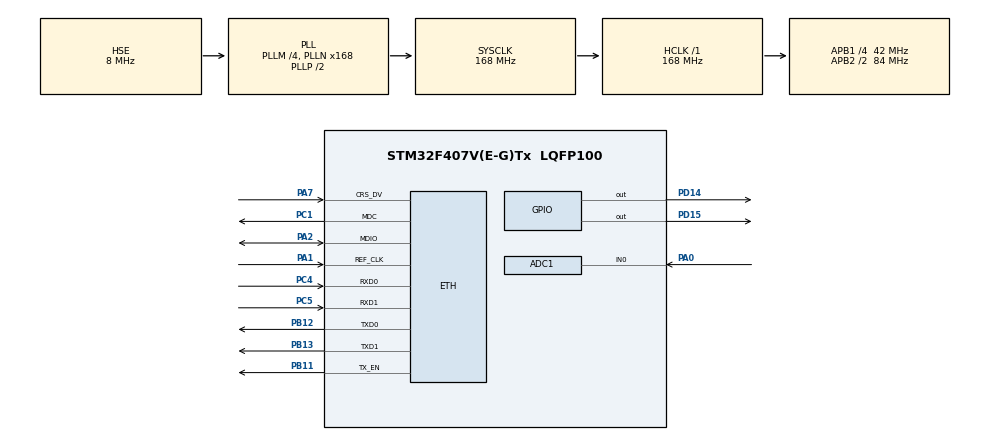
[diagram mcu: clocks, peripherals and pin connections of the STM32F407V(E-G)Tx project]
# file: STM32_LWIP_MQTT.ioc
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ADC1.Channel-0\#ChannelRegularConversion=ADC_CHANNEL_0
ADC1.ContinuousConvMode=ENABLE
ADC1.DMAContinuousRequests=DISABLE
ADC1.EOCSelection=ADC_EOC_SEQ_CONV
ADC1.InjNumberOfConversion=0
ADC1.NbrOfConversionFlag=1
ADC1.Rank-0\#ChannelRegularConversion=1
ADC1.SamplingTime-0\#ChannelRegularConversion=ADC_SAMPLETIME_3CYCLES
ADC1.ScanConvMode=ENABLE
ADC1.master=1
ETH.MediaInterface=ETH_MEDIA_INTERFACE_RMII
ETH.PhyAddress=1
LWIP.GATEWAY_ADDRESS=192.168.000.001
LWIP.IP_ADDRESS=192.168.000.010
LWIP.LWIP_DHCP=0
LWIP.NETMASK_ADDRESS=255.255.255.000
LWIP.Version=v2.1.2_Cube
Mcu.Family=STM32F4
Mcu.Name=STM32F407V(E-G)Tx
Mcu.Package=LQFP100
NVIC.PriorityGroup=NVIC_PRIORITYGROUP_4
PA0-WKUP.Signal=ADCx_IN0
PA1.Mode=RMII
PA1.Signal=ETH_REF_CLK
PA2.Mode=RMII
PA2.Signal=ETH_MDIO
PA7.Mode=RMII
PA7.Signal=ETH_CRS_DV
PB11.Mode=RMII
PB11.Signal=ETH_TX_EN
PB12.Mode=RMII
PB12.Signal=ETH_TXD0
PB13.Mode=RMII
PB13.Signal=ETH_TXD1
PC1.Mode=RMII
PC1.Signal=ETH_MDC
PC4.Mode=RMII
PC4.Signal=ETH_RXD0
PC5.Mode=RMII
PC5.Signal=ETH_RXD1
PD14.Signal=GPIO_Output
PD15.Signal=GPIO_Output
PH0-OSC_IN.Mode=HSE-External-Oscillator
PH0-OSC_IN.Signal=RCC_OSC_IN
PH1-OSC_OUT.Mode=HSE-External-Oscillator
PH1-OSC_OUT.Signal=RCC_OSC_OUT
ProjectManager.HeapSize=0x200
ProjectManager.StackSize=0x400
ProjectManager.TargetToolchain=STM32CubeIDE
RCC.48MHZClocksFreq_Value=84000000
RCC.AHBFreq_Value=168000000
RCC.APB1CLKDivider=RCC_HCLK_DIV4
RCC.APB1Freq_Value=42000000
RCC.APB1TimFreq_Value=84000000
RCC.APB2CLKDivider=RCC_HCLK_DIV2
RCC.APB2Freq_Value=84000000
RCC.APB2TimFreq_Value=168000000
RCC.CortexFreq_Value=168000000
RCC.HCLKFreq_Value=168000000
RCC.HSE_VALUE=8000000
RCC.HSI_VALUE=16000000
RCC.LSE_VALUE=32768
RCC.PLLM=4
RCC.PLLN=168
RCC.PLLSourceVirtual=RCC_PLLSOURCE_HSE
RCC.SYSCLKFreq_VALUE=168000000
RCC.SYSCLKSource=RCC_SYSCLKSOURCE_PLLCLK
RCC.VCOOutputFreq_Value=336000000
SH.ADCx_IN0.0=ADC1_IN0,IN0
VP_LWIP_VS_Enabled.Mode=Enabled
board=custom

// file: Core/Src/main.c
/* USER CODE BEGIN Header */
/**
  ******************************************************************************
  * @file           : main.c
  * @brief          : Main program body
  ******************************************************************************
  * @attention
  *
  * <h2><center>&copy; Copyright (c) 2021 STMicroelectronics.
  * All rights reserved.</center></h2>
  *
  * This software component is licensed by ST under BSD 3-Clause license,
  * the "License"; You may not use this file except in compliance with the
  * License. You may obtain a copy of the License at:
  *                        opensource.org/licenses/BSD-3-Clause
  *
  ******************************************************************************
  */
/* USER CODE END Header */
#include "main.h"
#include "lwip.h"

/* USER CODE BEGIN Includes */
#include "mqtt.h"
/* USER CODE END Includes */

ADC_HandleTypeDef hadc1;

/* USER CODE BEGIN PV */
mqtt_client_t *client;
int cnt;
int i;
char buffer[100];
short adc_value;
/* USER CODE END PV */

void SystemClock_Config(void);
static void MX_GPIO_Init(void);
static void MX_ADC1_Init(void);

int main(void)
{

  /* MCU Configuration--------------------------------------------------------*/

  /* Reset of all peripherals, Initializes the Flash interface and the Systick. */
  HAL_Init();

  /* Configure the system clock */
  SystemClock_Config();

  /* Initialize all configured peripherals */
  MX_GPIO_Init();
  MX_LWIP_Init();
  MX_ADC1_Init();
  /* USER CODE BEGIN 2 */
  client = mqtt_client_new();

  /* USER CODE END 2 */

  /* Infinite loop */
  while (1)
  {

    /* USER CODE BEGIN 3 */
	  MX_LWIP_Process();

	  HAL_Delay(1);

	  cnt++;
	  if(cnt>1000)
	  {
		  cnt = 0;
		  sprintf(buffer,"Hello from STM32 %d",i++);
		  example_do_connect(client);
		  example_publish(client, "STM32F4-PUB" , buffer);

		  HAL_ADC_Start(&hadc1);
		  HAL_ADC_PollForConversion(&hadc1, 10);
		  adc_value = HAL_ADC_GetValue(&hadc1);
		  HAL_ADC_Stop(&hadc1);
		  sprintf(buffer,"%d\0",adc_value);
		  example_publish(client, "STM32F4-ADC" , buffer);

	  }

  }
  /* USER CODE END 3 */
}

void SystemClock_Config(void)
{
  RCC_OscInitTypeDef RCC_OscInitStruct = {0};
  RCC_ClkInitTypeDef RCC_ClkInitStruct = {0};

  /** Configure the main internal regulator output voltage
  */
  __HAL_RCC_PWR_CLK_ENABLE();
  __HAL_PWR_VOLTAGESCALING_CONFIG(PWR_REGULATOR_VOLTAGE_SCALE1);
  /** Initializes the RCC Oscillators according to the specified parameters
  * in the RCC_OscInitTypeDef structure.
  */
  RCC_OscInitStruct.OscillatorType = RCC_OSCILLATORTYPE_HSE;
  RCC_OscInitStruct.HSEState = RCC_HSE_ON;
  RCC_OscInitStruct.PLL.PLLState = RCC_PLL_ON;
  RCC_OscInitStruct.PLL.PLLSource = RCC_PLLSOURCE_HSE;
  RCC_OscInitStruct.PLL.PLLM = 4;
  RCC_OscInitStruct.PLL.PLLN = 168;
  RCC_OscInitStruct.PLL.PLLP = RCC_PLLP_DIV2;
  RCC_OscInitStruct.PLL.PLLQ = 4;
  if (HAL_RCC_OscConfig(&RCC_OscInitStruct) != HAL_OK)
  {
    Error_Handler();
  }
  /** Initializes the CPU, AHB and APB buses clocks
  */
  RCC_ClkInitStruct.ClockType = RCC_CLOCKTYPE_HCLK|RCC_CLOCKTYPE_SYSCLK
                              |RCC_CLOCKTYPE_PCLK1|RCC_CLOCKTYPE_PCLK2;
  RCC_ClkInitStruct.SYSCLKSource = RCC_SYSCLKSOURCE_PLLCLK;
  RCC_ClkInitStruct.AHBCLKDivider = RCC_SYSCLK_DIV1;
  RCC_ClkInitStruct.APB1CLKDivider = RCC_HCLK_DIV4;
  RCC_ClkInitStruct.APB2CLKDivider = RCC_HCLK_DIV2;

  if (HAL_RCC_ClockConfig(&RCC_ClkInitStruct, FLASH_LATENCY_5) != HAL_OK)
  {
    Error_Handler();
  }
}

static void MX_ADC1_Init(void)
{

  ADC_ChannelConfTypeDef sConfig = {0};

  /** Configure the global features of the ADC (Clock, Resolution, Data Alignment and number of conversion)
  */
  hadc1.Instance = ADC1;
  hadc1.Init.ClockPrescaler = ADC_CLOCK_SYNC_PCLK_DIV4;
  hadc1.Init.Resolution = ADC_RESOLUTION_12B;
  hadc1.Init.ScanConvMode = ENABLE;
  hadc1.Init.ContinuousConvMode = ENABLE;
  hadc1.Init.DiscontinuousConvMode = DISABLE;
  hadc1.Init.ExternalTrigConvEdge = ADC_EXTERNALTRIGCONVEDGE_NONE;
  hadc1.Init.ExternalTrigConv = ADC_SOFTWARE_START;
  hadc1.Init.DataAlign = ADC_DATAALIGN_RIGHT;
  hadc1.Init.NbrOfConversion = 1;
  hadc1.Init.DMAContinuousRequests = DISABLE;
  hadc1.Init.EOCSelection = ADC_EOC_SEQ_CONV;
  if (HAL_ADC_Init(&hadc1) != HAL_OK)
  {
    Error_Handler();
  }
  /** Configure for the selected ADC regular channel its corresponding rank in the sequencer and its sample time.
  */
  sConfig.Channel = ADC_CHANNEL_0;
  sConfig.Rank = 1;
  sConfig.SamplingTime = ADC_SAMPLETIME_3CYCLES;
  if (HAL_ADC_ConfigChannel(&hadc1, &sConfig) != HAL_OK)
  {
    Error_Handler();
  }

}

static void MX_GPIO_Init(void)
{
  GPIO_InitTypeDef GPIO_InitStruct = {0};

  /* GPIO Ports Clock Enable */
  __HAL_RCC_GPIOH_CLK_ENABLE();
  __HAL_RCC_GPIOC_CLK_ENABLE();
  __HAL_RCC_GPIOA_CLK_ENABLE();
  __HAL_RCC_GPIOB_CLK_ENABLE();
  __HAL_RCC_GPIOD_CLK_ENABLE();

  /*Configure GPIO pin Output Level */
  HAL_GPIO_WritePin(GPIOD, GPIO_PIN_14|GPIO_PIN_15, GPIO_PIN_RESET);

  /*Configure GPIO pins : PD14 PD15 */
  GPIO_InitStruct.Pin = GPIO_PIN_14|GPIO_PIN_15;
  GPIO_InitStruct.Mode = GPIO_MODE_OUTPUT_PP;
  GPIO_InitStruct.Pull = GPIO_NOPULL;
  GPIO_InitStruct.Speed = GPIO_SPEED_FREQ_LOW;
  HAL_GPIO_Init(GPIOD, &GPIO_InitStruct);

}

/* USER CODE BEGIN 4 */

static void mqtt_sub_request_cb(void *arg, err_t result)
{
  /* Just print the result code here for simplicity,
     normal behaviour would be to take some action if subscribe fails like
     notifying user, retry subscribe or disconnect from server */
  printf("Subscribe result: %d\n", result);
}

/* The idea is to demultiplex topic and create some reference to be used in data callbacks
   Example here uses a global variable, better would be to use a member in arg
   If RAM and CPU budget allows it, the easiest implementation might be to just take a copy of
   the topic string and use it in mqtt_incoming_data_cb
*/
static int inpub_id;
static void mqtt_incoming_publish_cb(void *arg, const char *topic, u32_t tot_len)
{
  printf("Incoming publish at topic %s with total length %u\n", topic, (unsigned int)tot_len);

  /* Decode topic string into a user defined reference */
  if(strcmp(topic, "print_payload") == 0) {
    inpub_id = 0;
  } else if(topic[0] == 'A') {
    /* All topics starting with 'A' might be handled at the same way */
    inpub_id = 1;
  } else {
    /* For all other topics */
    inpub_id = 2;
  }
}

static void mqtt_incoming_data_cb(void *arg, const u8_t *data, u16_t len, u8_t flags)
{

	printf("Incoming publish payload with length %d, flags %u\n", len, (unsigned int)flags);

  if(flags & MQTT_DATA_FLAG_LAST) {

	  if(strncmp(data,"LED1-ON",7)==0)
	  {
		  HAL_GPIO_WritePin(GPIOD, GPIO_PIN_15, GPIO_PIN_SET);
	  }

	  if(strncmp(data,"LED1-OFF",8)==0)
	  {
		  HAL_GPIO_WritePin(GPIOD, GPIO_PIN_15, GPIO_PIN_RESET);
	  }

	  if(strncmp(data,"LED2-ON",7)==0)
	  {
		  HAL_GPIO_WritePin(GPIOD, GPIO_PIN_14, GPIO_PIN_SET);
	  }

	  if(strncmp(data,"LED2-OFF",8)==0)
	  {
		  HAL_GPIO_WritePin(GPIOD, GPIO_PIN_14, GPIO_PIN_RESET);
	  }

  } else {

  }
}

/* Called when publish is complete either with sucess or failure */
static void mqtt_pub_request_cb(void *arg, err_t result)
{
  if(result != ERR_OK) {
    printf("Publish result: %d\n", result);
  }
}

static void mqtt_connection_cb(mqtt_client_t *client, void *arg, mqtt_connection_status_t status)
{
  err_t err;
  if(status == MQTT_CONNECT_ACCEPTED) {
    printf("mqtt_connection_cb: Successfully connected\n");

    /* Setup callback for incoming publish requests */
    mqtt_set_inpub_callback(client, mqtt_incoming_publish_cb, mqtt_incoming_data_cb, arg);

    /* Subscribe to a topic named "subtopic" with QoS level 1, call mqtt_sub_request_cb with result */
    err = mqtt_subscribe(client, "STM32F4-SUB", 1, mqtt_sub_request_cb, arg);

    if(err != ERR_OK) {
      printf("mqtt_subscribe return: %d\n", err);
    }
  } else {
    printf("mqtt_connection_cb: Disconnected, reason: %d\n", status);

    /* Its more nice to be connected, so try to reconnect */
    example_do_connect(client);
  }
}

void example_do_connect(mqtt_client_t *client)
{
  struct mqtt_connect_client_info_t ci;
  err_t err;

  /* Setup an empty client info structure */
  memset(&ci, 0, sizeof(ci));

  /* Minimal amount of information required is client identifier, so set it here */
  ci.client_id = "lwip_test";
  //ci.client_user = "";
  //ci.client_pass = "";
  ci.keep_alive = 120;

  ip_addr_t mqttBrokerIP;
  IP4_ADDR(&mqttBrokerIP, 18,157,124,90);

  /* Initiate client and connect to server, if this fails immediately an error code is returned
     otherwise mqtt_connection_cb will be called with connection result after attempting
     to establish a connection with the server.
     For now MQTT version 3.1.1 is always used */

  err = mqtt_client_connect(client,&mqttBrokerIP, MQTT_PORT, mqtt_connection_cb, 0, &ci);

  /* For now just print the result code if something goes wrong */
  if(err != ERR_OK) {
    printf("mqtt_connect return %d\n", err);
  }
}

void example_publish(mqtt_client_t *client, char *data, void *arg)
{
  const char *pub_payload= arg;
  err_t err;
  u8_t qos = 2; /* 0 1 or 2, see MQTT specification */
  u8_t retain = 0; /* No don't retain such crappy payload... */
  err = mqtt_publish(client, data, pub_payload, strlen(pub_payload), qos, retain, mqtt_pub_request_cb, arg);
  if(err != ERR_OK) {
    printf("Publish err: %d\n", err);
  }
}

/* USER CODE END 4 */

void Error_Handler(void)
{
  __disable_irq();
  while (1)
  {
  }
}

/************************ (C) COPYRIGHT STMicroelectronics *****END OF FILE****/
